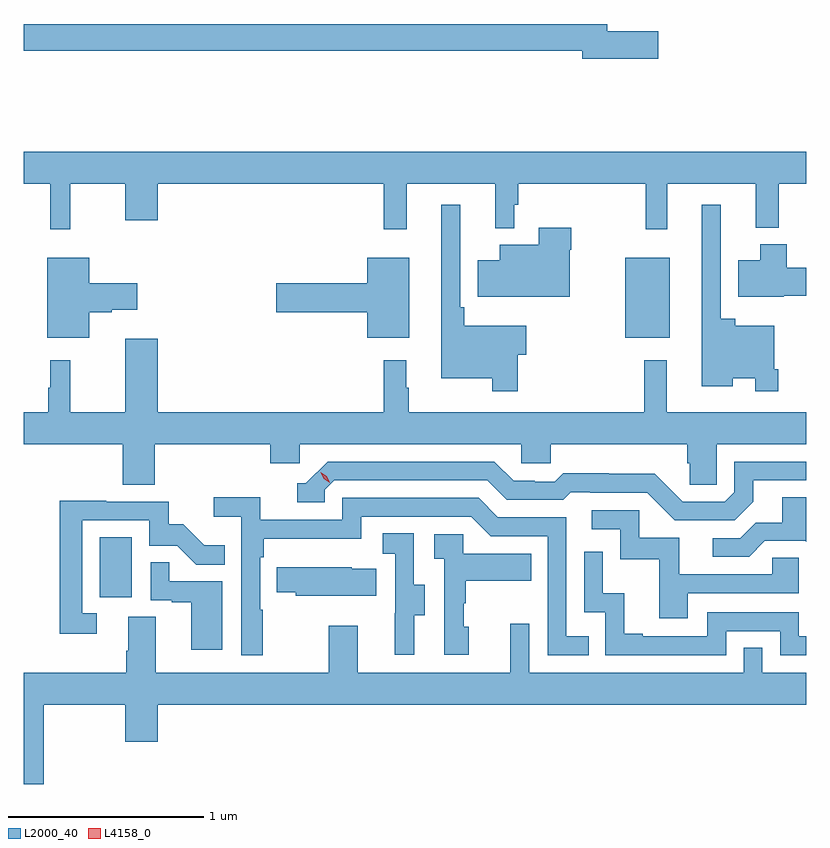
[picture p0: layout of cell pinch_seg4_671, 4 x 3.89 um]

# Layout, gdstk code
import gdstk
lib = gdstk.Library(unit=1e-6, precision=1e-09)
def R(c, l, rs):  # rectangles x0, y0, x1, y1
    for r in rs: c.add(gdstk.rectangle(r[:2], r[2:], *l))
def P(c, l, *ps):  # polygons
    for p in ps: c.add(gdstk.Polygon(p, *l))
L2000_40 = (2000, 40)
L4158_0 = (4158, 0)

pinch_seg4_671 = lib.new_cell('pinch_seg4_671')
R(pinch_seg4_671, L2000_40, [(1123.916,753.414,1124.08,753.721), (1126.604,754.739,1126.831,755.149)])
P(pinch_seg4_671, L2000_40, [(1126.771,756.308),(1126.51,756.308),(1126.51,756.344),(1123.528,756.344),(1123.528,756.208),(1126.382,756.208),(1126.382,756.166),(1126.771,756.166)],
  [(1123.766,755.528),(1124.048,755.528),(1124.048,755.34),(1124.212,755.34),(1124.212,755.528),(1125.367,755.528),(1125.367,755.295),(1125.485,755.295),(1125.485,755.528),(1125.938,755.528),(1125.938,755.3),(1126.035,755.3),(1126.035,755.421),(1126.055,755.421),(1126.055,755.528),(1126.707,755.528),(1126.707,755.295),(1126.817,755.295),(1126.817,755.528),(1127.27,755.528),(1127.27,755.303),(1127.387,755.303),(1127.387,755.528),(1127.528,755.528),(1127.528,755.692),(1123.528,755.692),(1123.528,755.528),(1123.664,755.528),(1123.664,755.295),(1123.766,755.295)],
  [(1126.052,754.654),(1126.096,754.654),(1126.096,754.801),(1125.779,754.801),(1125.779,754.897),(1125.759,754.897),(1125.759,755.419),(1125.662,755.419),(1125.662,754.532),(1125.924,754.532),(1125.924,754.467),(1126.052,754.467)],
  [(1127.384,754.579),(1127.364,754.579),(1127.364,754.801),(1127.165,754.801),(1127.165,754.837),(1127.091,754.837),(1127.091,755.419),(1126.994,755.419),(1126.994,754.493),(1127.152,754.493),(1127.152,754.532),(1127.268,754.532),(1127.268,754.467),(1127.384,754.467)],
  [(1126.318,755.189),(1126.326,755.189),(1126.326,755.302),(1126.16,755.302),(1126.16,755.215),(1125.962,755.215),(1125.962,755.137),(1125.848,755.137),(1125.848,754.949),(1126.318,754.949)],
  [(1127.412,754.955),(1127.528,754.955),(1127.528,755.097),(1127.429,755.097),(1127.429,755.218),(1127.294,755.218),(1127.294,755.137),(1127.18,755.137),(1127.18,754.949),(1127.412,754.949)],
  [(1123.864,754.871),(1123.977,754.871),(1123.977,754.883),(1124.107,754.883),(1124.107,755.018),(1123.864,755.018),(1123.864,755.149),(1123.649,755.149),(1123.649,754.739),(1123.864,754.739)],
  [(1125.499,755.149),(1125.284,755.149),(1125.284,755.018),(1124.82,755.018),(1124.82,754.871),(1125.284,754.871),(1125.284,754.739),(1125.499,754.739)],
  [(1124.198,754.196),(1124.789,754.196),(1124.789,754.098),(1124.94,754.098),(1124.94,754.196),(1126.071,754.196),(1126.071,754.098),(1126.221,754.098),(1126.221,754.196),(1126.919,754.196),(1126.919,754.098),(1126.933,754.098),(1126.933,753.988),(1127.07,753.988),(1127.07,754.196),(1127.528,754.196),(1127.528,754.36),(1126.816,754.36),(1126.816,754.624),(1126.699,754.624),(1126.699,754.36),(1125.496,754.36),(1125.496,754.484),(1125.484,754.484),(1125.484,754.624),(1125.367,754.624),(1125.367,754.36),(1124.212,754.36),(1124.212,754.735),(1124.048,754.735),(1124.048,754.36),(1123.766,754.36),(1123.766,754.624),(1123.664,754.624),(1123.664,754.484),(1123.653,754.484),(1123.653,754.36),(1123.528,754.36),(1123.528,754.196),(1124.033,754.196),(1124.033,753.988),(1124.198,753.988)],
  [(1127.257,753.901),(1127.257,754.011),(1127.528,754.011),(1127.528,754.107),(1127.16,754.107),(1127.16,753.951),(1127.112,753.903),(1126.896,753.903),(1126.754,754.045),(1126.518,754.045),(1126.518,754.048),(1126.285,754.048),(1126.243,754.005),(1126.14,754.005),(1126.14,754.008),(1126.033,754.008),(1125.934,754.107),(1125.081,754.107),(1124.97,753.996),(1124.927,753.996),(1124.927,753.9),(1125.066,753.9),(1125.066,753.963),(1125.114,754.011),(1125.897,754.011),(1125.996,753.912),(1126.285,753.912),(1126.324,753.951),(1126.423,753.951),(1126.423,753.948),(1126.716,753.948),(1126.857,753.807),(1127.163,753.807)],
  [(1124.749,753.35),(1124.736,753.35),(1124.736,753.617),(1124.756,753.617),(1124.756,753.713),(1125.252,753.713),(1125.252,753.825),(1125.816,753.825),(1125.915,753.726),(1126.206,753.726),(1126.206,753.117),(1126.415,753.117),(1126.415,753.213),(1126.302,753.213),(1126.302,753.822),(1125.952,753.822),(1125.853,753.921),(1125.156,753.921),(1125.156,753.81),(1124.738,753.81),(1124.738,753.926),(1124.499,753.926),(1124.499,753.824),(1124.64,753.824),(1124.64,753.117),(1124.749,753.117)],
  [(1127.317,753.702),(1127.523,753.702),(1127.528,753.697),(1127.528,753.926),(1127.405,753.926),(1127.405,753.794),(1127.27,753.794),(1127.19,753.714),(1127.049,753.714),(1127.049,753.621),(1127.236,753.621)],
  [(1123.9,753.333),(1123.827,753.333),(1123.827,753.807),(1124.169,753.807),(1124.169,753.678),(1124.313,753.678),(1124.411,753.58),(1124.555,753.58),(1124.555,753.679),(1124.451,753.679),(1124.344,753.786),(1124.268,753.786),(1124.268,753.903),(1123.949,753.903),(1123.949,753.908),(1123.711,753.908),(1123.711,753.228),(1123.9,753.228)],
  [(1126.921,753.435),(1127.49,753.435),(1127.49,753.615),(1127.353,753.615),(1127.353,753.531),(1126.879,753.531),(1126.879,753.717),(1126.674,753.717),(1126.674,753.858),(1126.431,753.858),(1126.431,753.762),(1126.578,753.762),(1126.578,753.609),(1126.777,753.609),(1126.777,753.306),(1126.921,753.306)],
  [(1125.523,753.322),(1125.577,753.322),(1125.577,753.477),(1125.522,753.477),(1125.522,753.74),(1125.363,753.74),(1125.363,753.637),(1125.426,753.637),(1125.426,753.333),(1125.425,753.333),(1125.425,753.12),(1125.523,753.12)],
  [(1125.802,753.264),(1125.777,753.264),(1125.777,753.383),(1125.787,753.383),(1125.787,753.497),(1126.121,753.497),(1126.121,753.637),(1125.774,753.637),(1125.774,753.735),(1125.627,753.735),(1125.627,753.611),(1125.678,753.611),(1125.678,753.12),(1125.802,753.12)],
  [(1127.118,753.24),(1127.394,753.24),(1127.394,753.117),(1127.528,753.117),(1127.528,753.213),(1127.49,753.213),(1127.49,753.336),(1127.022,753.336),(1127.022,753.213),(1126.693,753.213),(1126.693,753.226),(1126.598,753.226),(1126.598,753.434),(1126.488,753.434),(1126.488,753.646),(1126.392,753.646),(1126.392,753.336),(1126.5,753.336),(1126.5,753.117),(1127.118,753.117)],
  [(1124.542,753.495),(1124.273,753.495),(1124.273,753.593),(1124.178,753.593),(1124.178,753.399),(1124.285,753.399),(1124.285,753.387),(1124.384,753.387),(1124.384,753.144),(1124.542,753.144)],
  [(1125.329,753.559),(1125.204,753.559),(1125.204,753.568),(1124.821,753.568),(1124.821,753.439),(1124.919,753.439),(1124.919,753.422),(1125.329,753.422)],
  [(1123.63,752.864),(1124.048,752.864),(1124.048,752.676),(1124.212,752.676),(1124.212,752.864),(1127.528,752.864),(1127.528,753.028),(1127.304,753.028),(1127.304,753.155),(1127.208,753.155),(1127.208,753.028),(1126.113,753.028),(1126.113,753.277),(1126.016,753.277),(1126.016,753.028),(1125.235,753.028),(1125.235,753.268),(1125.088,753.268),(1125.088,753.028),(1124.203,753.028),(1124.203,753.314),(1124.063,753.314),(1124.063,753.14),(1124.051,753.14),(1124.051,753.028),(1123.528,753.028),(1123.528,752.459),(1123.63,752.459)])
P(pinch_seg4_671, L4158_0, [(1125.092,753.998),(1125.062,754.019),(1125.046,754.052),(1125.046,754.052),(1125.046,754.052),(1125.076,754.032),(1125.092,753.999),(1125.092,753.998)])

lib.write_gds('pinch_seg4_671.gds')
